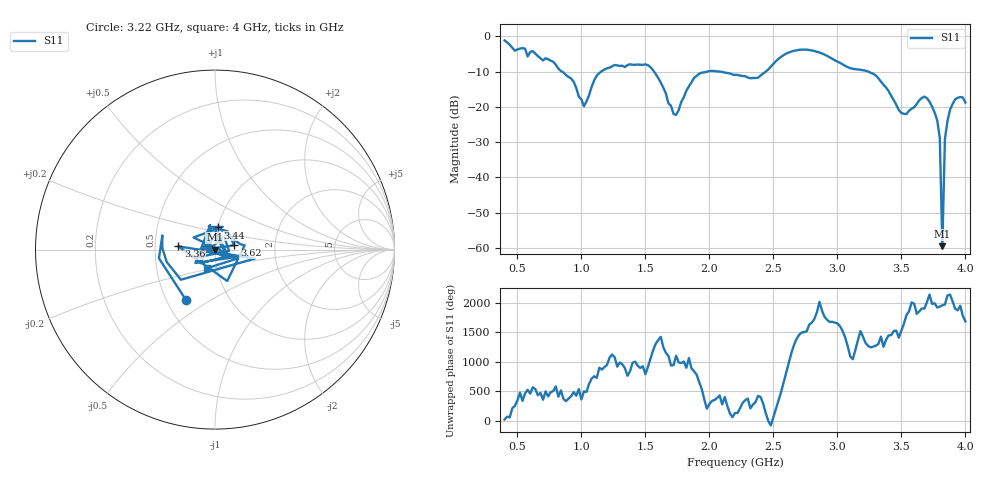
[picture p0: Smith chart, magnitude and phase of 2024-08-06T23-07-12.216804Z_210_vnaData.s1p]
!Created with skrf (http://scikit-rf.org).
# Hz S RI R 50.0
!freq ReS11 ImS11
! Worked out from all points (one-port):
!   181 points, 400 MHz to 4 GHz, reference 50 ohm
!   lowest |S11| = -59.5 dB at 3.82 GHz (marker M1), VSWR 1.00, Z = 49.9 + j0.0411 ohm
!   |S11| at or under -10 dB: 1.567 GHz to 1.987 GHz (419.8 MHz wide, 23.6 % of centre); 2.074 GHz to 2.441 GHz (366.1 MHz wide, 16.2 % of centre); 3.239 GHz to end of sweep (the widest 3 of 4)
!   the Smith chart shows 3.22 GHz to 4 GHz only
!   S11 on the Smith chart (normalised r, x): 3.22 GHz: 0.63, -0.40; 3.36 GHz: 0.66, +0.03; 3.44 GHz: 1.00, +0.25; 3.62 GHz: 1.24, +0.06; 4 GHz: 0.89, -0.19
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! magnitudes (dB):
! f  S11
! 400 MHz  -1.2
! 860 MHz  -10.3
! 940 MHz  -12.9
! 1.02 GHz  -19.9
! 1.12 GHz  -11.2
! 1.3 GHz  -8.4
! 1.52 GHz  -8.2
! 1.72 GHz  -22.0
! 1.76 GHz  -20.9
! 1.92 GHz  -10.6
! 2.2 GHz  -11.0
! 2.38 GHz  -11.8
! 2.66 GHz  -4.1
! 3.1 GHz  -9.1
! 3.22 GHz  -9.8
! 3.36 GHz  -13.7
! 3.44 GHz  -18.1
! 3.5 GHz  -21.7
! 3.56 GHz  -21.1
! 3.62 GHz  -19.2
! 3.7 GHz  -17.6
! 3.78 GHz  -23.9
! 3.8 GHz  -28.8
! 3.82 GHz  -59.5
! 3.84 GHz  -29.2
! 3.86 GHz  -24.0
! 3.92 GHz  -17.9
! 4 GHz  -18.8
